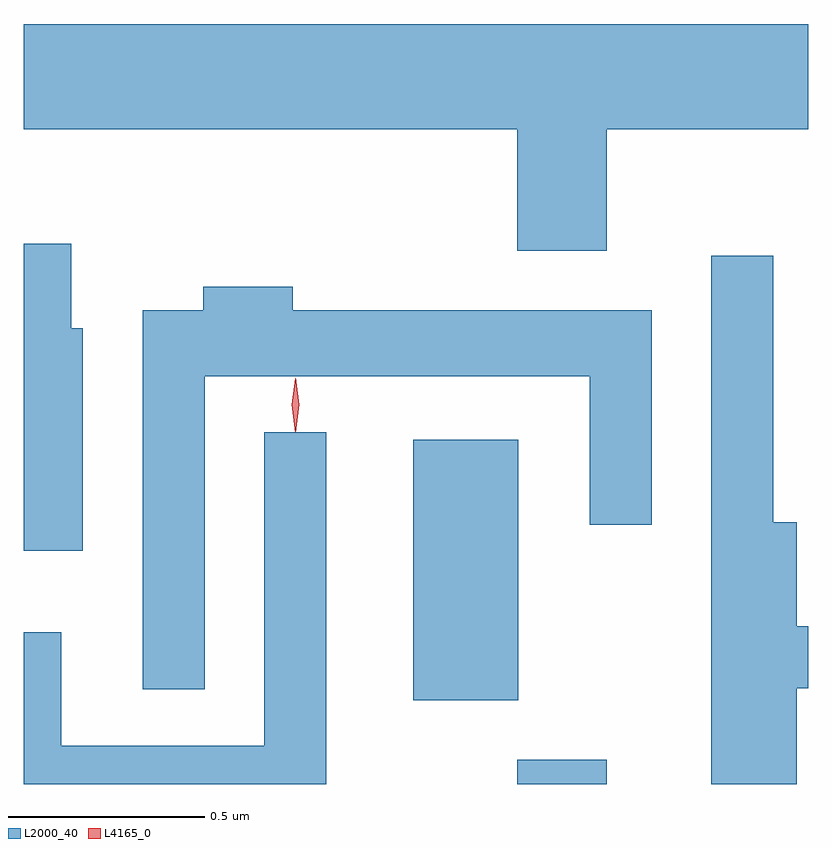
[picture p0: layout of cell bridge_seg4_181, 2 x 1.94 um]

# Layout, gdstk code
import gdstk
lib = gdstk.Library(unit=1e-6, precision=1e-09)
def R(c, l, rs):  # rectangles x0, y0, x1, y1
    for r in rs: c.add(gdstk.rectangle(r[:2], r[2:], *l))
def P(c, l, *ps):  # polygons
    for p in ps: c.add(gdstk.Polygon(p, *l))
L2000_40 = (2000, 40)
L4165_0 = (4165, 0)

bridge_seg4_181 = lib.new_cell('bridge_seg4_181')
R(bridge_seg4_181, L2000_40, [(1059.491,1306.387,1059.719,1306.449), (1059.226,1306.601,1059.494,1307.264)])
P(bridge_seg4_181, L2000_40, [(1059.719,1308.056),(1060.233,1308.056),(1060.233,1308.324),(1058.233,1308.324),(1058.233,1308.056),(1059.491,1308.056),(1059.491,1307.746),(1059.719,1307.746)],
  [(1058.384,1307.549),(1058.354,1307.549),(1058.354,1307.764),(1058.233,1307.764),(1058.233,1306.981),(1058.384,1306.981)],
  [(1060.204,1306.631),(1060.233,1306.631),(1060.233,1306.789),(1060.204,1306.789),(1060.204,1307.054),(1060.144,1307.054),(1060.144,1307.733),(1059.986,1307.733),(1059.986,1306.387),(1060.204,1306.387)],
  [(1058.694,1307.426),(1059.676,1307.426),(1059.676,1307.048),(1059.834,1307.048),(1059.834,1307.594),(1058.919,1307.594),(1058.919,1307.654),(1058.691,1307.654),(1058.691,1307.594),(1058.536,1307.594),(1058.536,1306.628),(1058.694,1306.628)],
  [(1059.004,1307.283),(1058.846,1307.283),(1058.846,1306.484),(1058.329,1306.484),(1058.329,1306.774),(1058.233,1306.774),(1058.233,1306.387),(1059.004,1306.387)])
P(bridge_seg4_181, L4165_0, [(1058.925,1307.284),(1058.916,1307.353),(1058.926,1307.422),(1058.926,1307.423),(1058.927,1307.422),(1058.936,1307.353),(1058.926,1307.284),(1058.926,1307.284)],
  [(1058.926,1307.287),(1058.925,1307.288),(1058.916,1307.354),(1058.925,1307.42),(1058.926,1307.421),(1058.926,1307.42),(1058.936,1307.354),(1058.926,1307.288)])

lib.write_gds('bridge_seg4_181.gds')
